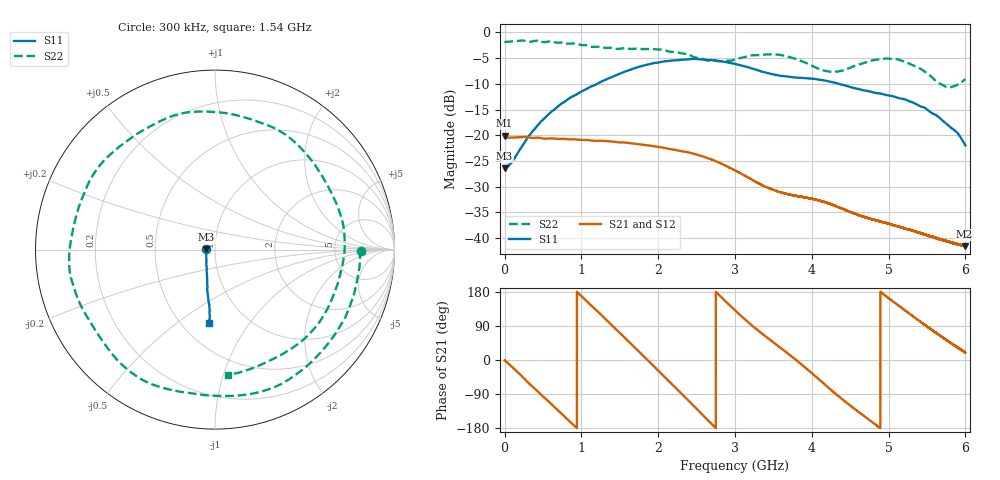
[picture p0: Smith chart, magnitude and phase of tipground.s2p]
!  8/6/2020  03:30:38
! Ref Plane: 0.000 mm
# MHZ S MA R  50
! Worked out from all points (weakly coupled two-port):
!   10001 points, 300 kHz to 6 GHz, reference 50 ohm
!   highest |S21| = -20.10 dB at 300 kHz (marker M1); lowest = -41.6 dB at 5.989 GHz (marker M2)
!   lowest |S11| = -26.5 dB at 300 kHz (marker M3), VSWR 1.10, Z = 45.5 + j0.0689 ohm
!   |S11| at or under -10 dB: start of sweep to 1.205 GHz; 4.351 GHz to end of sweep
!   |S22| runs from -10.7 to -1.6 dB; largest |S21 - S12| = 0.0026
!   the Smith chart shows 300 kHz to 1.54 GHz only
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0.3  0.04758 179.1  0.09891 -1.1  0.09634 -0.9  0.8149 -0.4
291.8854  0.09294 -121.4  0.09626 -56.5  0.09646 -56.5  0.8193 -84.4
595.4702  0.1659 -105.4  0.09325 -113.7  0.0935 -113.7  0.8183 -170.5
824.0588  0.2229 -101.2  0.09166 -157.7  0.09186 -157.8  0.7771 124.6
1000.45  0.2658 -98.2  0.09019 168.6  0.09027 168.5  0.7536 75.1
1256.037  0.3318 -95.3  0.08837 119.4  0.08848 119.4  0.7221 -0.0
1543.423  0.4096 -94.5  0.08521 63.1  0.0854 63.0  0.7013 -84.7
1787.611  0.4719 -96.1  0.08111 14.4  0.08133 14.4  0.6896 -151.6
2000.6  0.5099 -98.7  0.07707 -27.9  0.07731 -28.0  0.6825 153.3
2259.187  0.5373 -101.8  0.07113 -79.6  0.07145 -79.7  0.6389 87.3
2542.373  0.5478 -105.6  0.06366 -137.5  0.0637 -137.7  0.5628 8.4
2785.961  0.5266 -107.9  0.05448 172.9  0.05454 172.9  0.526 -67.3
3000.15  0.4942 -109.5  0.04557 131.1  0.04558 131.1  0.545 -133.5
3232.338  0.4445 -109.5  0.03656 89.1  0.03662 89.0  0.5992 164.3
3517.924  0.3881 -104.2  0.02912 43.7  0.02907 43.4  0.6107 95.9
4000.3  0.3554 -94.9  0.02415 -34.6  0.02408 -34.5  0.4757 -26.0
4225.889  0.3335 -93.5  0.02176 -74.5  0.02167 -74.6  0.4165 -99.5
4490.475  0.2965 -90.4  0.0181 -118.6  0.01813 -118.6  0.4493 173.8
5000.45  0.2435 -82.2  0.01384 163.2  0.01381 163.3  0.5553 49.4
5512.824  0.1751 -79.3  0.0106 86.5  0.01063 86.5  0.3959 -71.3
5989.2  0.08219 -73.1  0.008358 21.1  0.008457 21.1  0.3474 118.7
6000  0.07981 -73.1  0.008374 19.4  0.008368 19.3  0.352 115.4
